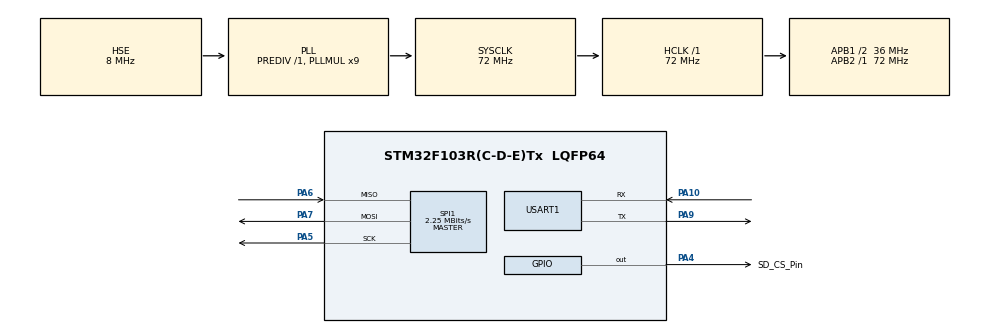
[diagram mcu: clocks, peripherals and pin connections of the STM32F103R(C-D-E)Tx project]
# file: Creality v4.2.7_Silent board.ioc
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FATFS._MAX_SS=4096
FATFS._USE_LFN=1
Mcu.Family=STM32F1
Mcu.Name=STM32F103R(C-D-E)Tx
Mcu.Package=LQFP64
NVIC.PriorityGroup=NVIC_PRIORITYGROUP_4
PA10.Mode=Asynchronous
PA10.Signal=USART1_RX
PA4.GPIO_Label=SD_CS_Pin
PA4.GPIO_Speed=GPIO_SPEED_FREQ_MEDIUM
PA4.PinState=GPIO_PIN_SET
PA4.Signal=GPIO_Output
PA5.Mode=Full_Duplex_Master
PA5.Signal=SPI1_SCK
PA6.Mode=Full_Duplex_Master
PA6.Signal=SPI1_MISO
PA7.Mode=Full_Duplex_Master
PA7.Signal=SPI1_MOSI
PA9.Mode=Asynchronous
PA9.Signal=USART1_TX
PC14-OSC32_IN.Mode=LSE-External-Oscillator
PC14-OSC32_IN.Signal=RCC_OSC32_IN
PC15-OSC32_OUT.Mode=LSE-External-Oscillator
PC15-OSC32_OUT.Signal=RCC_OSC32_OUT
PD0-OSC_IN.Mode=HSE-External-Oscillator
PD0-OSC_IN.Signal=RCC_OSC_IN
PD1-OSC_OUT.Mode=HSE-External-Oscillator
PD1-OSC_OUT.Signal=RCC_OSC_OUT
ProjectManager.HeapSize=0x200
ProjectManager.StackSize=0x400
ProjectManager.TargetToolchain=STM32CubeIDE
RCC.AHBFreq_Value=72000000
RCC.APB1CLKDivider=RCC_HCLK_DIV2
RCC.APB1Freq_Value=36000000
RCC.APB1TimFreq_Value=72000000
RCC.APB2Freq_Value=72000000
RCC.APB2TimFreq_Value=72000000
RCC.HCLKFreq_Value=72000000
RCC.PLLMUL=RCC_PLL_MUL9
RCC.PLLSourceVirtual=RCC_PLLSOURCE_HSE
RCC.RCC_MCOSource=RCC_MCO1SOURCE_PLLCLK
RCC.SYSCLKFreq_VALUE=72000000
RCC.SYSCLKSource=RCC_SYSCLKSOURCE_PLLCLK
RCC.USBFreq_Value=72000000
SPI1.BaudRatePrescaler=SPI_BAUDRATEPRESCALER_32
SPI1.CalculateBaudRate=2.25 MBits/s
SPI1.DataSize=SPI_DATASIZE_8BIT
SPI1.Direction=SPI_DIRECTION_2LINES
SPI1.Mode=SPI_MODE_MASTER
SPI1.VirtualType=VM_MASTER
USART1.VirtualMode=VM_ASYNC
VP_FATFS_VS_Generic.Mode=User_defined
VP_SYS_VS_ND.Mode=No_Debug
board=custom

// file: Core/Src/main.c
/* USER CODE BEGIN Header */
/**
  ******************************************************************************
  * @file           : main.c
  * @brief          : Main program body
  ******************************************************************************
  * @attention
  *
  * <h2><center>&copy; Copyright (c) 2021 STMicroelectronics.
  * All rights reserved.</center></h2>
  *
  * This software component is licensed by ST under BSD 3-Clause license,
  * the "License"; You may not use this file except in compliance with the
  * License. You may obtain a copy of the License at:
  *                        opensource.org/licenses/BSD-3-Clause
  *
  ******************************************************************************
  */
/* USER CODE END Header */
#include "main.h"
#include "fatfs.h"

/* USER CODE BEGIN Includes */
#include "string.h"
/* USER CODE END Includes */

SPI_HandleTypeDef hspi1;
UART_HandleTypeDef huart1;

/* USER CODE BEGIN PV */
FATFS fs;
FATFS *pfs;
FIL fil;
FRESULT fres;
DWORD fre_clust;
char buffer[100];
/* USER CODE END PV */

void SystemClock_Config(void);
static void MX_GPIO_Init(void);
static void MX_USART1_UART_Init(void);
static void MX_SPI1_Init(void);

/* USER CODE BEGIN 0 */

/* capacity related variables */

void send_uart(char *string)
{
	uint8_t len = strlen (string);
	HAL_UART_Transmit(&huart1, (uint8_t*)string, len, 100);
}

int bufsize (char *buf)
{
	int i=0;
	while(*buf++ != '\0') i++;
	return i;
}

void bufclear (void)
{
	for(int i=0; i<102; i++)
	{
		buffer[i]='\0';
	}
}
/* USER CODE END 0 */

int main(void)
{

  /* MCU Configuration--------------------------------------------------------*/

  /* Reset of all peripherals, Initializes the Flash interface and the Systick. */
  HAL_Init();

  /* Configure the system clock */
  SystemClock_Config();

  /* Initialize all configured peripherals */
  MX_GPIO_Init();
  MX_USART1_UART_Init();
  MX_SPI1_Init();
  MX_FATFS_Init();
  /* USER CODE BEGIN 2 */
  int i=0;
  int count = (50000 * 72) / 4;
  char f[3];

  /* Mount SD Card */
  HAL_UART_Receive(&huart1, (uint8_t*)f, 3, 2000);

  /* Mount SD Card */
  f_mount(&fs, "", 0);
  f_open(&fil, "first.txt", FA_OPEN_ALWAYS | FA_READ | FA_WRITE);
  f_puts("STM32 SD Card I/O Example via SPI\n", &fil);
  f_puts("Save the world!!!", &fil);
  f_close(&fil);
  /* USER CODE END 2 */

  /* Infinite loop */
  /* USER CODE BEGIN WHILE */
  while (1)
  {
    // j++;
    // HAL_GPIO_WritePin(GPIOA, GPIO_PIN_9, 0);
	// HAL_GPIO_WritePin(GPIOA, GPIO_PIN_10, 0);
	// while (i < count) {
		// i++;
	   //  count--;
	 //}
	 //count = (50000 * 72) / 4;
	 //i=0;
	 //HAL_GPIO_WritePin(GPIOA, GPIO_PIN_9, 1);
	 //HAL_GPIO_WritePin(GPIOA, GPIO_PIN_10, 1);
	 while (i < count) {
	     count--;
	     i++;
	 }
	 count = (50000 * 72) / 4;
	 i=0;
     HAL_UART_Transmit(&huart1, (uint8_t*)"H\n", 2, 100);

    /* USER CODE END WHILE */

  }
}

void SystemClock_Config(void)
{
  RCC_OscInitTypeDef RCC_OscInitStruct = {0};
  RCC_ClkInitTypeDef RCC_ClkInitStruct = {0};

  /** Initializes the RCC Oscillators according to the specified parameters
  * in the RCC_OscInitTypeDef structure.
  */
  RCC_OscInitStruct.OscillatorType = RCC_OSCILLATORTYPE_HSE;
  RCC_OscInitStruct.HSEState = RCC_HSE_ON;
  RCC_OscInitStruct.HSEPredivValue = RCC_HSE_PREDIV_DIV1;
  RCC_OscInitStruct.HSIState = RCC_HSI_ON;
  RCC_OscInitStruct.PLL.PLLState = RCC_PLL_ON;
  RCC_OscInitStruct.PLL.PLLSource = RCC_PLLSOURCE_HSE;
  RCC_OscInitStruct.PLL.PLLMUL = RCC_PLL_MUL9;
  if (HAL_RCC_OscConfig(&RCC_OscInitStruct) != HAL_OK)
  {
    Error_Handler();
  }
  /** Initializes the CPU, AHB and APB buses clocks
  */
  RCC_ClkInitStruct.ClockType = RCC_CLOCKTYPE_HCLK|RCC_CLOCKTYPE_SYSCLK
                              |RCC_CLOCKTYPE_PCLK1|RCC_CLOCKTYPE_PCLK2;
  RCC_ClkInitStruct.SYSCLKSource = RCC_SYSCLKSOURCE_PLLCLK;
  RCC_ClkInitStruct.AHBCLKDivider = RCC_SYSCLK_DIV1;
  RCC_ClkInitStruct.APB1CLKDivider = RCC_HCLK_DIV2;
  RCC_ClkInitStruct.APB2CLKDivider = RCC_HCLK_DIV1;

  if (HAL_RCC_ClockConfig(&RCC_ClkInitStruct, FLASH_LATENCY_2) != HAL_OK)
  {
    Error_Handler();
  }
}

static void MX_SPI1_Init(void)
{

  /* SPI1 parameter configuration*/
  hspi1.Instance = SPI1;
  hspi1.Init.Mode = SPI_MODE_MASTER;
  hspi1.Init.Direction = SPI_DIRECTION_2LINES;
  hspi1.Init.DataSize = SPI_DATASIZE_8BIT;
  hspi1.Init.CLKPolarity = SPI_POLARITY_LOW;
  hspi1.Init.CLKPhase = SPI_PHASE_1EDGE;
  hspi1.Init.NSS = SPI_NSS_SOFT;
  hspi1.Init.BaudRatePrescaler = SPI_BAUDRATEPRESCALER_32;
  hspi1.Init.FirstBit = SPI_FIRSTBIT_MSB;
  hspi1.Init.TIMode = SPI_TIMODE_DISABLE;
  hspi1.Init.CRCCalculation = SPI_CRCCALCULATION_DISABLE;
  hspi1.Init.CRCPolynomial = 10;
  if (HAL_SPI_Init(&hspi1) != HAL_OK)
  {
    Error_Handler();
  }

}

static void MX_USART1_UART_Init(void)
{

  huart1.Instance = USART1;
  huart1.Init.BaudRate = 115200;
  huart1.Init.WordLength = UART_WORDLENGTH_8B;
  huart1.Init.StopBits = UART_STOPBITS_1;
  huart1.Init.Parity = UART_PARITY_NONE;
  huart1.Init.Mode = UART_MODE_TX_RX;
  huart1.Init.HwFlowCtl = UART_HWCONTROL_NONE;
  huart1.Init.OverSampling = UART_OVERSAMPLING_16;
  if (HAL_UART_Init(&huart1) != HAL_OK)
  {
    Error_Handler();
  }

}

static void MX_GPIO_Init(void)
{
  GPIO_InitTypeDef GPIO_InitStruct = {0};

  /* GPIO Ports Clock Enable */
  __HAL_RCC_GPIOC_CLK_ENABLE();
  __HAL_RCC_GPIOD_CLK_ENABLE();
  __HAL_RCC_GPIOA_CLK_ENABLE();

  /*Configure GPIO pin Output Level */
  HAL_GPIO_WritePin(SD_CS_Pin_GPIO_Port, SD_CS_Pin_Pin, GPIO_PIN_SET);

  /*Configure GPIO pin : SD_CS_Pin_Pin */
  GPIO_InitStruct.Pin = SD_CS_Pin_Pin;
  GPIO_InitStruct.Mode = GPIO_MODE_OUTPUT_PP;
  GPIO_InitStruct.Pull = GPIO_NOPULL;
  GPIO_InitStruct.Speed = GPIO_SPEED_FREQ_MEDIUM;
  HAL_GPIO_Init(SD_CS_Pin_GPIO_Port, &GPIO_InitStruct);

}

void Error_Handler(void)
{
  /* USER CODE BEGIN Error_Handler_Debug */
	HAL_GPIO_WritePin(GPIOB, GPIO_PIN_12, 1);
  /* User can add his own implementation to report the HAL error return state */
  __disable_irq();
  while (1)
  {
  }
  /* USER CODE END Error_Handler_Debug */
}

/************************ (C) COPYRIGHT STMicroelectronics *****END OF FILE****/
